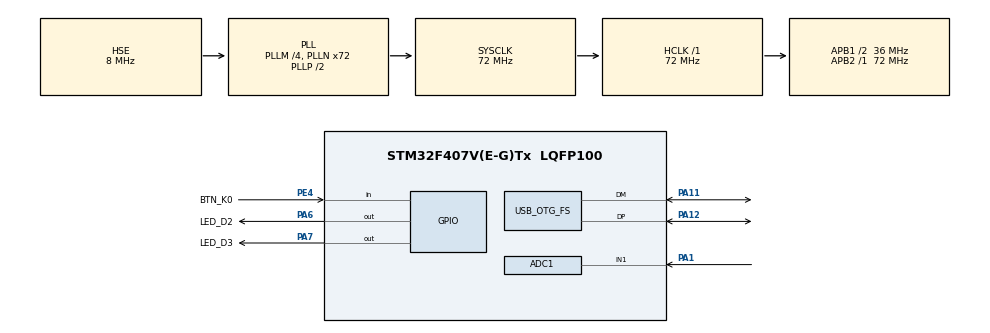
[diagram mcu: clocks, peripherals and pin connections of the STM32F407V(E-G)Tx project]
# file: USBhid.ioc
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ADC1.Channel-0\#ChannelRegularConversion=ADC_CHANNEL_1
ADC1.NbrOfConversionFlag=1
ADC1.Rank-0\#ChannelRegularConversion=1
ADC1.SamplingTime-0\#ChannelRegularConversion=ADC_SAMPLETIME_56CYCLES
ADC1.master=1
Mcu.Family=STM32F4
Mcu.Name=STM32F407V(E-G)Tx
Mcu.Package=LQFP100
NVIC.OTG_FS_IRQn=true\:0\:0\:false\:false\:true\:false\:true\:true
NVIC.PriorityGroup=NVIC_PRIORITYGROUP_4
PA1.Signal=ADCx_IN1
PA11.Mode=Device_Only
PA11.Signal=USB_OTG_FS_DM
PA12.Mode=Device_Only
PA12.Signal=USB_OTG_FS_DP
PA6.GPIO_Label=LED_D2
PA6.PinState=GPIO_PIN_SET
PA6.Signal=GPIO_Output
PA7.GPIO_Label=LED_D3
PA7.PinState=GPIO_PIN_SET
PA7.Signal=GPIO_Output
PE4.GPIO_Label=BTN_K0
PE4.GPIO_PuPd=GPIO_PULLUP
PE4.Signal=GPIO_Input
PH0-OSC_IN.Mode=HSE-External-Oscillator
PH0-OSC_IN.Signal=RCC_OSC_IN
PH1-OSC_OUT.Mode=HSE-External-Oscillator
PH1-OSC_OUT.Signal=RCC_OSC_OUT
ProjectManager.HeapSize=0x200
ProjectManager.StackSize=0x400
ProjectManager.TargetToolchain=STM32CubeIDE
RCC.48MHZClocksFreq_Value=48000000
RCC.AHBFreq_Value=72000000
RCC.APB1CLKDivider=RCC_HCLK_DIV2
RCC.APB1Freq_Value=36000000
RCC.APB1TimFreq_Value=72000000
RCC.APB2Freq_Value=72000000
RCC.APB2TimFreq_Value=72000000
RCC.CortexFreq_Value=72000000
RCC.HCLKFreq_Value=72000000
RCC.HSE_VALUE=8000000
RCC.HSI_VALUE=16000000
RCC.LSE_VALUE=32768
RCC.PLLM=4
RCC.PLLN=72
RCC.PLLQ=3
RCC.SYSCLKFreq_VALUE=72000000
RCC.SYSCLKSource=RCC_SYSCLKSOURCE_PLLCLK
RCC.VCOOutputFreq_Value=144000000
SH.ADCx_IN1.0=ADC1_IN1,IN1
USB_DEVICE.CLASS_NAME_FS=CUSTOM_HID
USB_DEVICE.MANUFACTURER_STRING-CUSTOM_HID_FS=USB_STM32
USB_DEVICE.PID_CUSTOMHID_FS=0x5750
USB_DEVICE.USBD_CUSTOM_HID_REPORT_DESC_SIZE-CUSTOM_HID_FS=163
USB_DEVICE.USBD_MAX_STR_DESC_SIZ-CUSTOM_HID_FS=0x100
USB_DEVICE.VID-CUSTOM_HID_FS=0x483
USB_DEVICE.VirtualMode-CUSTOM_HID_FS=CustomHid
USB_DEVICE.VirtualModeFS=Custom_Hid_FS
USB_OTG_FS.VirtualMode=Device_Only
VP_USB_DEVICE_VS_USB_DEVICE_CUSTOM_HID_FS.Mode=CUSTOM_HID_FS
board=custom

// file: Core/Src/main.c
/* USER CODE BEGIN Header */
/**
  ******************************************************************************
  * @file           : main.c
  * @brief          : Main program body
  ******************************************************************************
  * @attention
  *
  * Copyright (c) 2024 STMicroelectronics.
  * All rights reserved.
  *
  * This software is licensed under terms that can be found in the LICENSE file
  * in the root directory of this software component.
  * If no LICENSE file comes with this software, it is provided AS-IS.
  *
  ******************************************************************************
  */
/* USER CODE END Header */
#include "main.h"
#include "usb_device.h"

/* USER CODE BEGIN Includes */
#include "usbd_custom_hid_if.h"
/* USER CODE END Includes */

ADC_HandleTypeDef hadc1;

/* USER CODE BEGIN PV */
uint16_t analog_Pot = 0;
uint8_t SendBuffer[2];
extern USBD_HandleTypeDef hUsbDeviceFS;
/* USER CODE END PV */

void SystemClock_Config(void);
static void MX_GPIO_Init(void);
static void MX_ADC1_Init(void);

int main(void)
{

  /* MCU Configuration--------------------------------------------------------*/

  /* Reset of all peripherals, Initializes the Flash interface and the Systick. */
  HAL_Init();

  /* Configure the system clock */
  SystemClock_Config();

  /* Initialize all configured peripherals */
  MX_GPIO_Init();
  MX_USB_DEVICE_Init();
  MX_ADC1_Init();

  /* Infinite loop */
  while (1)
  {

    /* USER CODE BEGIN 3 */
	  SendBuffer[0] = KEY_REPORT_ID;
	  if(HAL_GPIO_ReadPin(BTN_K0_GPIO_Port, BTN_K0_Pin) == 0)
	  {
		  SendBuffer[1] = 0x01;
	  }
	  else
	  {
		  SendBuffer[1] = 0x00;
	  }
	  USBD_CUSTOM_HID_SendReport(&hUsbDeviceFS, SendBuffer, 2);
	  HAL_Delay(100);

	  SendBuffer[0] = ADC_REPORT_ID;
	  HAL_ADC_Start(&hadc1); // start adc peripheral
	  HAL_ADC_PollForConversion(&hadc1, 1000); // WAIT FOR THE END OF CONVERSION
	  analog_Pot = HAL_ADC_GetValue(&hadc1);
	  HAL_ADC_Stop(&hadc1);
	  SendBuffer[1] = (uint8_t)(analog_Pot/20);
	  USBD_CUSTOM_HID_SendReport(&hUsbDeviceFS, SendBuffer, 2);

	  HAL_Delay(100);

  }
  /* USER CODE END 3 */
}

void SystemClock_Config(void)
{
  RCC_OscInitTypeDef RCC_OscInitStruct = {0};
  RCC_ClkInitTypeDef RCC_ClkInitStruct = {0};

  /** Configure the main internal regulator output voltage
  */
  __HAL_RCC_PWR_CLK_ENABLE();
  __HAL_PWR_VOLTAGESCALING_CONFIG(PWR_REGULATOR_VOLTAGE_SCALE1);

  /** Initializes the RCC Oscillators according to the specified parameters
  * in the RCC_OscInitTypeDef structure.
  */
  RCC_OscInitStruct.OscillatorType = RCC_OSCILLATORTYPE_HSE;
  RCC_OscInitStruct.HSEState = RCC_HSE_ON;
  RCC_OscInitStruct.PLL.PLLState = RCC_PLL_ON;
  RCC_OscInitStruct.PLL.PLLSource = RCC_PLLSOURCE_HSE;
  RCC_OscInitStruct.PLL.PLLM = 4;
  RCC_OscInitStruct.PLL.PLLN = 72;
  RCC_OscInitStruct.PLL.PLLP = RCC_PLLP_DIV2;
  RCC_OscInitStruct.PLL.PLLQ = 3;
  if (HAL_RCC_OscConfig(&RCC_OscInitStruct) != HAL_OK)
  {
    Error_Handler();
  }

  /** Initializes the CPU, AHB and APB buses clocks
  */
  RCC_ClkInitStruct.ClockType = RCC_CLOCKTYPE_HCLK|RCC_CLOCKTYPE_SYSCLK
                              |RCC_CLOCKTYPE_PCLK1|RCC_CLOCKTYPE_PCLK2;
  RCC_ClkInitStruct.SYSCLKSource = RCC_SYSCLKSOURCE_PLLCLK;
  RCC_ClkInitStruct.AHBCLKDivider = RCC_SYSCLK_DIV1;
  RCC_ClkInitStruct.APB1CLKDivider = RCC_HCLK_DIV2;
  RCC_ClkInitStruct.APB2CLKDivider = RCC_HCLK_DIV1;

  if (HAL_RCC_ClockConfig(&RCC_ClkInitStruct, FLASH_LATENCY_2) != HAL_OK)
  {
    Error_Handler();
  }
}

static void MX_ADC1_Init(void)
{

  ADC_ChannelConfTypeDef sConfig = {0};

  /** Configure the global features of the ADC (Clock, Resolution, Data Alignment and number of conversion)
  */
  hadc1.Instance = ADC1;
  hadc1.Init.ClockPrescaler = ADC_CLOCK_SYNC_PCLK_DIV2;
  hadc1.Init.Resolution = ADC_RESOLUTION_12B;
  hadc1.Init.ScanConvMode = DISABLE;
  hadc1.Init.ContinuousConvMode = DISABLE;
  hadc1.Init.DiscontinuousConvMode = DISABLE;
  hadc1.Init.ExternalTrigConvEdge = ADC_EXTERNALTRIGCONVEDGE_NONE;
  hadc1.Init.ExternalTrigConv = ADC_SOFTWARE_START;
  hadc1.Init.DataAlign = ADC_DATAALIGN_RIGHT;
  hadc1.Init.NbrOfConversion = 1;
  hadc1.Init.DMAContinuousRequests = DISABLE;
  hadc1.Init.EOCSelection = ADC_EOC_SINGLE_CONV;
  if (HAL_ADC_Init(&hadc1) != HAL_OK)
  {
    Error_Handler();
  }

  /** Configure for the selected ADC regular channel its corresponding rank in the sequencer and its sample time.
  */
  sConfig.Channel = ADC_CHANNEL_1;
  sConfig.Rank = 1;
  sConfig.SamplingTime = ADC_SAMPLETIME_56CYCLES;
  if (HAL_ADC_ConfigChannel(&hadc1, &sConfig) != HAL_OK)
  {
    Error_Handler();
  }

}

static void MX_GPIO_Init(void)
{
  GPIO_InitTypeDef GPIO_InitStruct = {0};

  /* GPIO Ports Clock Enable */
  __HAL_RCC_GPIOE_CLK_ENABLE();
  __HAL_RCC_GPIOH_CLK_ENABLE();
  __HAL_RCC_GPIOA_CLK_ENABLE();

  /*Configure GPIO pin Output Level */
  HAL_GPIO_WritePin(GPIOA, LED_D2_Pin|LED_D3_Pin, GPIO_PIN_SET);

  /*Configure GPIO pin : BTN_K0_Pin */
  GPIO_InitStruct.Pin = BTN_K0_Pin;
  GPIO_InitStruct.Mode = GPIO_MODE_INPUT;
  GPIO_InitStruct.Pull = GPIO_PULLUP;
  HAL_GPIO_Init(BTN_K0_GPIO_Port, &GPIO_InitStruct);

  /*Configure GPIO pins : LED_D2_Pin LED_D3_Pin */
  GPIO_InitStruct.Pin = LED_D2_Pin|LED_D3_Pin;
  GPIO_InitStruct.Mode = GPIO_MODE_OUTPUT_PP;
  GPIO_InitStruct.Pull = GPIO_NOPULL;
  GPIO_InitStruct.Speed = GPIO_SPEED_FREQ_LOW;
  HAL_GPIO_Init(GPIOA, &GPIO_InitStruct);

}

void Error_Handler(void)
{
  __disable_irq();
  while (1)
  {
  }
}
